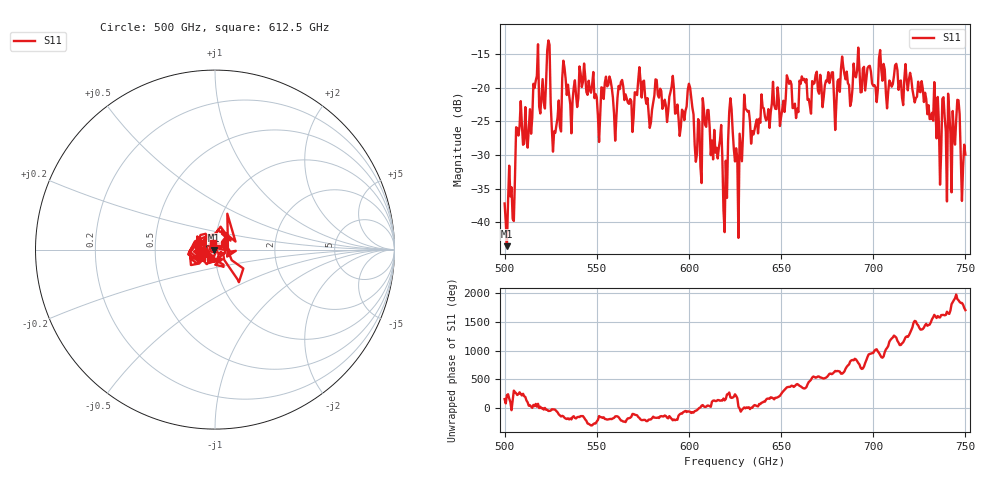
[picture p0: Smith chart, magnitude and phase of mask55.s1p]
!Created with skrf (http://scikit-rf.org).
# GHz S MA R 50.0
!freq magS11 angS11
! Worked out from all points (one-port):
!   401 points, 500 GHz to 750 GHz, reference 50 ohm
!   lowest |S11| = -43.6 dB at 501.2 GHz (marker M1), VSWR 1.01, Z = 49.5 - j0.457 ohm
!   |S11| at or under -10 dB: start of sweep to end of sweep
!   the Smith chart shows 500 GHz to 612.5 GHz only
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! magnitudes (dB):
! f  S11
! 500 GHz  -37.2
! 501.2 GHz  -43.6
! 504.4 GHz  -39.5
! 507.5 GHz  -27.1
! 513.1 GHz  -25.9
! 516.9 GHz  -19.0
! 520.6 GHz  -18.7
! 523.8 GHz  -12.9
! 526.9 GHz  -26.5
! 531.2 GHz  -18.6
! 562.5 GHz  -20.2
! 593.8 GHz  -22.5
! 600.6 GHz  -19.9
! 605.6 GHz  -25.1
! 608.8 GHz  -25.5
! 616.9 GHz  -27.7
! 619.4 GHz  -41.5
! 622.5 GHz  -21.5
! 625 GHz  -30.9
! 627.5 GHz  -26.8
! 631.2 GHz  -23.3
! 635 GHz  -26.9
! 656.2 GHz  -23.0
! 687.5 GHz  -22.7
! 718.8 GHz  -20.4
! 735.6 GHz  -25.3
! 745.6 GHz  -21.8
! 750 GHz  -29.9
